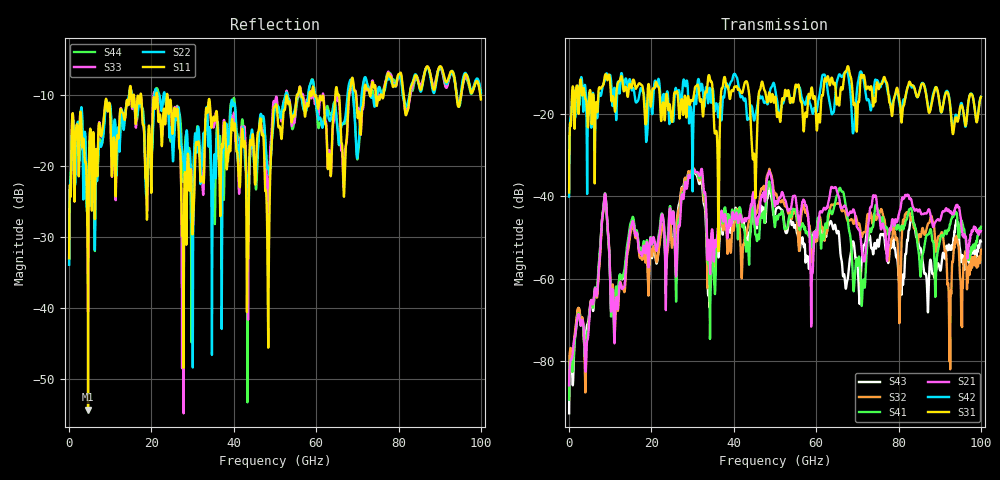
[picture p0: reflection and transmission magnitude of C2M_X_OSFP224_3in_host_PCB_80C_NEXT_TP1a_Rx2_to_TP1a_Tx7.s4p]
# GHz S RI R 45
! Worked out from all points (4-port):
!   4000 points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, 25 MHz to 100 GHz, reference 45 ohm
!   strongest paths, dB at 25 MHz, 25.02 GHz, 50.02 GHz, 75.03 GHz, 100 GHz:
!     S31: -39.1, -22.0, -15.9, -13.4, -16.0
!     S42: -40.1, -20.8, -13.9, -12.3, -15.9
!     S21: -85.8, -46.4, -42.5, -44.5, -48.5
!     S41: -89.2, -45.4, -47.4, -43.3, -47.4
!     S32: -85.3, -52.5, -39.6, -44.2, -53.0
!     S43: -92.6, -51.7, -44.4, -51.2, -51.0
!   lowest |S11| = -54.3 dB at 4.625 GHz (marker M1), VSWR 1.00, Z = 44.9 + j0.116 ohm
!   |S11| at or under -10 dB: start of sweep to 14.63 GHz; 23.9 GHz to 55.31 GHz (31.41 GHz wide, 79.3 % of centre); 59.58 GHz to 64.66 GHz (5.075 GHz wide, 8.17 % of centre)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
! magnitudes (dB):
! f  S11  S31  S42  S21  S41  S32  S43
! 25 MHz  -33.0  -39.1  -40.1  -85.8  -89.2  -85.3  -92.6
! 4.625 GHz  -54.3  -23.1  -19.4  -74.1  -72.2  -72.5  -70.5
! 8.6 GHz  -12.3  -11.4  -12.3  -40.3  -39.9  -40.5  -40.2
! 11.35 GHz  -23.8  -17.3  -18.5  -65.7  -62.6  -66.4  -63.4
! 30.12 GHz  -27.2  -16.6  -26.0  -33.6  -33.6  -33.1  -33.3
! 34.08 GHz  -10.6  -10.9  -13.9  -52.3  -59.4  -54.7  -65.9
! 100 GHz  -10.6  -16.0  -15.9  -48.5  -47.4  -53.0  -51.0
